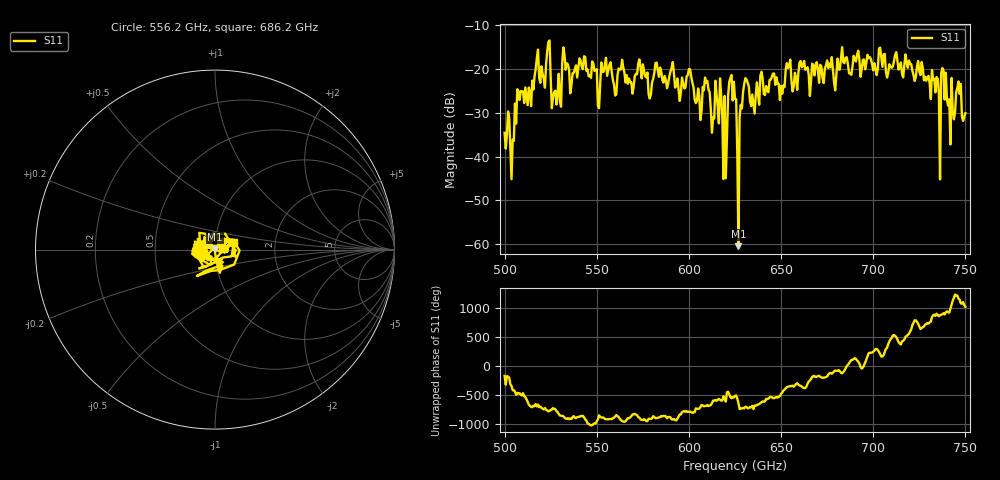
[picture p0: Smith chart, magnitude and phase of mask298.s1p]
!Created with skrf (http://scikit-rf.org).
# GHz S MA R 50.0
!freq magS11 angS11
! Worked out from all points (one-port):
!   401 points, 500 GHz to 750 GHz, reference 50 ohm
!   lowest |S11| = -60.4 dB at 626.9 GHz (marker M1), VSWR 1.00, Z = 50 + j0.0944 ohm
!   |S11| at or under -10 dB: start of sweep to end of sweep
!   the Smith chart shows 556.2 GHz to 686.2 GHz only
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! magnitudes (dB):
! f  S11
! 500 GHz  -34.5
! 503.8 GHz  -45.1
! 508.1 GHz  -27.0
! 513.1 GHz  -24.2
! 517.5 GHz  -17.4
! 523.8 GHz  -13.8
! 526.9 GHz  -25.3
! 531.2 GHz  -18.6
! 562.5 GHz  -20.0
! 593.8 GHz  -22.1
! 610 GHz  -22.7
! 612.5 GHz  -34.5
! 616.2 GHz  -32.4
! 619.4 GHz  -26.1
! 622.5 GHz  -22.0
! 625 GHz  -26.8
! 626.9 GHz  -60.4
! 630.6 GHz  -22.0
! 634.4 GHz  -25.8
! 656.2 GHz  -25.1
! 687.5 GHz  -21.0
! 718.8 GHz  -19.6
! 733.1 GHz  -22.2
! 735 GHz  -22.2
! 738.1 GHz  -20.2
! 743.1 GHz  -29.5
! 746.2 GHz  -22.8
! 750 GHz  -30.0
